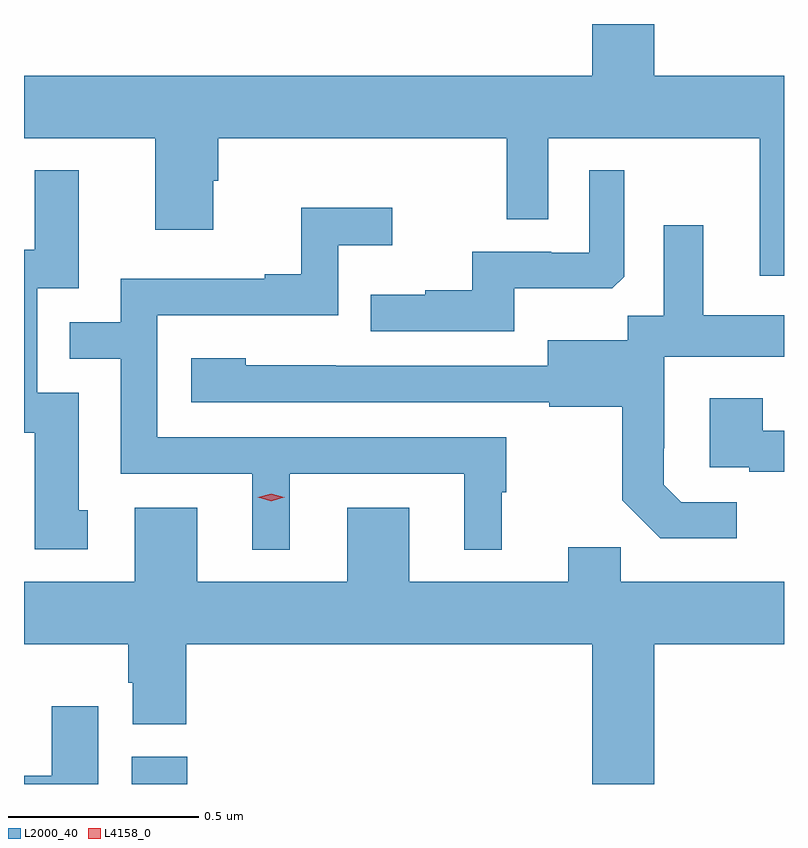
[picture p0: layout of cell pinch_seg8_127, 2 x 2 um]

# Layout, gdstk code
import gdstk
lib = gdstk.Library(unit=1e-6, precision=1e-09)
def R(c, l, rs):  # rectangles x0, y0, x1, y1
    for r in rs: c.add(gdstk.rectangle(r[:2], r[2:], *l))
def P(c, l, *ps):  # polygons
    for p in ps: c.add(gdstk.Polygon(p, *l))
L2000_40 = (2000, 40)
L4158_0 = (4158, 0)

pinch_seg8_127 = lib.new_cell('pinch_seg8_127')
R(pinch_seg8_127, L2000_40, [(751.208,1150.764,751.355,1150.836)])
P(pinch_seg8_127, L2000_40, [(752.925,1152.628),(752.584,1152.628),(752.584,1152.764),(752.42,1152.764),(752.42,1152.628),(750.925,1152.628),(750.925,1152.464),(751.271,1152.464),(751.271,1152.222),(751.423,1152.222),(751.423,1152.351),(751.436,1152.351),(751.436,1152.464),(752.196,1152.464),(752.196,1152.25),(752.304,1152.25),(752.304,1152.464),(752.861,1152.464),(752.861,1152.102),(752.925,1152.102)],
  [(751.093,1151.484),(751.069,1151.484),(751.069,1151.793),(750.96,1151.793),(750.96,1152.069),(751.069,1152.069),(751.069,1152.379),(750.953,1152.379),(750.953,1152.17),(750.925,1152.17),(750.925,1151.688),(750.953,1151.688),(750.953,1151.382),(751.093,1151.382)],
  [(752.215,1152.068),(752.473,1152.068),(752.505,1152.099),(752.505,1152.379),(752.412,1152.379),(752.412,1152.162),(752.312,1152.162),(752.312,1152.165),(752.105,1152.165),(752.105,1152.064),(751.981,1152.064),(751.981,1152.052),(751.837,1152.052),(751.837,1151.955),(752.215,1151.955)],
  [(751.624,1151.58),(752.084,1151.58),(752.084,1151.381),(752.182,1151.381),(752.182,1151.532),(752.194,1151.532),(752.194,1151.676),(751.275,1151.676),(751.275,1151.997),(751.752,1151.997),(751.752,1152.182),(751.894,1152.182),(751.894,1152.281),(751.654,1152.281),(751.654,1152.106),(751.559,1152.106),(751.559,1152.093),(751.179,1152.093),(751.179,1151.979),(751.045,1151.979),(751.045,1151.883),(751.179,1151.883),(751.179,1151.58),(751.526,1151.58),(751.526,1151.381),(751.624,1151.381)],
  [(752.8,1151.505),(752.655,1151.505),(752.608,1151.552),(752.608,1151.647),(752.61,1151.647),(752.61,1151.888),(752.925,1151.888),(752.925,1151.998),(752.713,1151.998),(752.713,1152.235),(752.609,1152.235),(752.609,1151.996),(752.514,1151.996),(752.514,1151.932),(752.303,1151.932),(752.303,1151.865),(751.745,1151.865),(751.745,1151.866),(751.509,1151.866),(751.509,1151.884),(751.365,1151.884),(751.365,1151.769),(752.307,1151.769),(752.307,1151.757),(752.499,1151.757),(752.499,1151.511),(752.599,1151.411),(752.8,1151.411)],
  [(752.925,1151.694),(752.869,1151.694),(752.869,1151.779),(752.729,1151.779),(752.729,1151.598),(752.833,1151.598),(752.833,1151.586),(752.925,1151.586)],
  [(752.584,1151.132),(752.925,1151.132),(752.925,1151.296),(752.495,1151.296),(752.495,1151.387),(752.357,1151.387),(752.357,1151.296),(751.939,1151.296),(751.939,1151.491),(751.775,1151.491),(751.775,1151.296),(751.381,1151.296),(751.381,1151.491),(751.217,1151.491),(751.217,1151.296),(750.925,1151.296),(750.925,1151.132),(751.199,1151.132),(751.199,1151.031),(751.211,1151.031),(751.211,1150.921),(751.352,1150.921),(751.352,1151.132),(752.42,1151.132),(752.42,1150.764),(752.584,1150.764)],
  [(751.12,1150.969),(750.998,1150.969),(750.998,1150.786),(750.925,1150.786),(750.925,1150.764),(751.12,1150.764)])
P(pinch_seg8_127, L4158_0, [(751.575,1151.508),(751.54,1151.518),(751.539,1151.518),(751.54,1151.519),(751.575,1151.528),(751.61,1151.519),(751.611,1151.518),(751.61,1151.518)])

lib.write_gds('pinch_seg8_127.gds')
